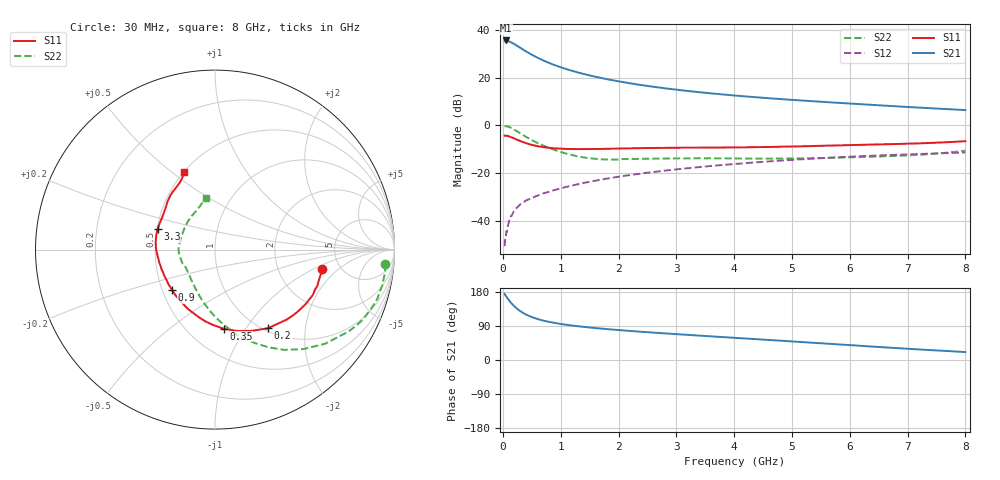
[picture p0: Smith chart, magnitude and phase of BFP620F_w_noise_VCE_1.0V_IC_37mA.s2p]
! Infineon Technologies  Discrete & RF Semiconductors
! BFP620F
! VCE =  1.0 V,  IC =  37 mA
! Common Emitter S-Parameters:  Dec 2014
# GHz  S  MA  R  50
!  f  S11  S21  S12  S22
! GHz  MAG  ANG  MAG  ANG  MAG  ANG  MAG  ANG
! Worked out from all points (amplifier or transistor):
!   95 points, 30 MHz to 8 GHz, reference 50 ohm
!   highest |S21| = 35.6 dB at 60 MHz (marker M1)
!   |S21| within 3 dB of that: start of sweep to 296.3 MHz
!   unconditionally stable (mu >= 1): 2.237 GHz to end of sweep
!   at 300 MHz: K = 0.42, MSG = 32.9 dB, |S12| = -33.2 dB
!   at 3.3 GHz: K = 1.02, MAG = 15.0 dB, |S12| = -17.8 dB
!   at 8 GHz: K = 1.05, MAG = 7.5 dB, |S12| = -11.4 dB
!   lowest NFmin = 1.29 dB at 450 MHz
!   S11 on the Smith chart (normalised r, x): 30 MHz: 3.61, -1.22; 200 MHz: 1.05, -1.27; 350 MHz: 0.73, -0.80; 900 MHz: 0.56, -0.28; 3.3 GHz: 0.50, +0.13; 8 GHz: 0.50, +0.55
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0.03  0.6042 -10.2  58.32 174.2  0.0029 92.7  0.9511 -4.9
0.06  0.6048 -19.4  60.37 167.4  0.0059 81.2  0.9534 -12.1
0.09  0.594 -27.9  59.07 160.8  0.0081 80.4  0.937 -19.0
0.13  0.5695 -39.6  55.82 152.9  0.0114 74.5  0.8969 -27.7
0.15  0.5579 -44.4  54.59 149.4  0.0125 76.0  0.8721 -31.6
0.2  0.5282 -56.1  50.41 141.5  0.0167 70.2  0.8068 -40.6
0.25  0.4951 -66.3  46.34 134.8  0.019 68.0  0.7411 -48.4
0.3  0.4681 -75.3  42.46 129.1  0.0218 66.6  0.6798 -55.3
0.35  0.4432 -83.8  38.76 124.2  0.024 64.5  0.6227 -61.1
0.45  0.4042 -97.4  32.84 116.5  0.0279 62.9  0.5295 -71.2
0.6  0.3642 -114.2  26.18 108.1  0.0335 62.4  0.4239 -83.1
0.7  0.347 -122.9  22.94 103.9  0.0372 62.2  0.3739 -90.0
0.9  0.3277 -137.0  18.26 97.7  0.044 62.4  0.3013 -102.2
1.1  0.3188 -147.9  15.09 92.9  0.051 62.8  0.2534 -113.5
1.4  0.3174 -160.3  11.94 87.4  0.0617 62.8  0.2117 -129.3
1.9  0.3225 -174.9  8.813 80.3  0.0795 61.9  0.1906 -152.0
2.7  0.335 169.4  6.211 71.3  0.1079 58.1  0.1995 -170.4
3.3  0.3395 160.4  5.095 65.3  0.1293 54.8  0.2025 -178.7
4.1  0.3439 149.9  4.129 57.6  0.157 49.9  0.2007 171.0
5.4  0.3681 137.2  3.176 45.1  0.201 40.5  0.2044 149.4
6.7  0.402 124.6  2.546 32.5  0.2374 30.3  0.2257 126.5
8  0.4637 111.7  2.088 20.9  0.2682 20.4  0.2932 100.4
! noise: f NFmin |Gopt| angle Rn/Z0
0.45  1.29  0.13  -172  0.16
0.9  1.32  0.13  -172  0.13
1.5  1.33  0.17  -151  0.11
1.8  1.34  0.18  -151  0.12
1.9  1.35  0.18  -150  0.12
2.4  1.37  0.19  215  0.14
3.5  1.43  0.19  219  0.18
5.5  1.57  0.25  245  0.16
6  1.61  0.26  261  0.18
